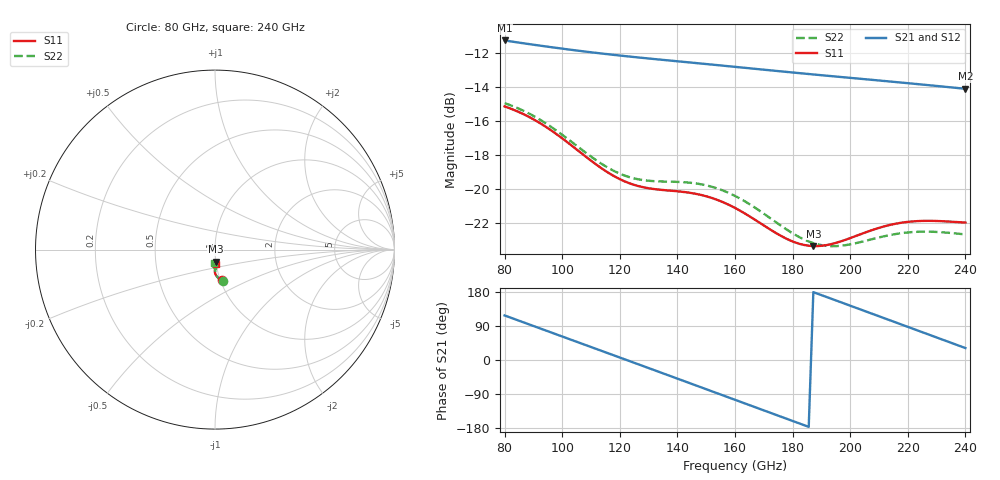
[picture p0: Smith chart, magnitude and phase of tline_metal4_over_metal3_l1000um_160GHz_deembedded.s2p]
! Created with skrf 2.0.1 (http://scikit-rf.org).
# GHz S DB R 50.0
!freq dBS11 angS11 dBS21 angS21 dBS12 angS12 dBS22 angS22
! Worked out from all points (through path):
!   101 points, 80 GHz to 240 GHz, reference 50 ohm
!   highest |S21| = -11.28 dB at 80 GHz (marker M1); lowest = -14.1 dB at 240 GHz (marker M2)
!   group delay of S21, straight-line fit = 7.75 ps
!   lowest |S11| = -23.3 dB at 187.2 GHz (marker M3), VSWR 1.15, Z = 50 - j6.82 ohm
!   |S11| at or under -10 dB: start of sweep to end of sweep
!   |S22| runs from -23.3 to -15.0 dB; largest |S21 - S12| = 4.2e-14
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80  -15.15 -76.9  -11.28 117.6  -11.28 117.6  -14.96 -75.5
86.4  -15.59 -80.7  -11.44 99.8  -11.44 99.8  -15.39 -79.4
92.8  -16.18 -84.6  -11.59 82.0  -11.59 82.0  -15.98 -83.4
99.2  -16.92 -87.9  -11.74 64.3  -11.74 64.3  -16.71 -86.6
107.2  -17.97 -90.3  -11.91 42.0  -11.91 42.0  -17.74 -89.0
113.6  -18.77 -90.5  -12.04 24.3  -12.04 24.3  -18.51 -89.1
120  -19.42 -89.6  -12.16 6.5  -12.16 6.5  -19.10 -88.1
126.4  -19.82 -88.2  -12.28 -11.3  -12.28 -11.3  -19.43 -86.9
134.4  -20.04 -87.3  -12.41 -33.5  -12.41 -33.5  -19.55 -86.5
147.2  -20.31 -89.6  -12.62 -69.2  -12.62 -69.2  -19.69 -90.0
153.6  -20.62 -91.7  -12.72 -87.1  -12.72 -87.1  -19.95 -93.0
160  -21.10 -93.6  -12.83 -105.0  -12.83 -105.0  -20.40 -95.9
166.4  -21.74 -94.5  -12.93 -122.9  -12.93 -122.9  -21.03 -98.1
174.4  -22.59 -93.3  -13.07 -145.2  -13.07 -145.2  -21.96 -98.9
180.8  -23.12 -90.2  -13.17 -163.1  -13.17 -163.1  -22.67 -97.4
187.2  -23.34 -86.2  -13.27 179.1  -13.27 179.1  -23.17 -94.4
200  -22.88 -80.3  -13.47 143.4  -13.47 143.4  -23.24 -88.1
208  -22.38 -80.0  -13.60 121.0  -13.60 121.0  -22.92 -86.8
214.4  -22.08 -81.1  -13.70 103.1  -13.70 103.1  -22.68 -87.2
220.8  -21.91 -82.7  -13.80 85.2  -13.80 85.2  -22.53 -88.4
227.2  -21.86 -84.4  -13.90 67.3  -13.90 67.3  -22.50 -89.9
240  -21.96 -86.6  -14.11 31.5  -14.11 31.5  -22.66 -92.3
